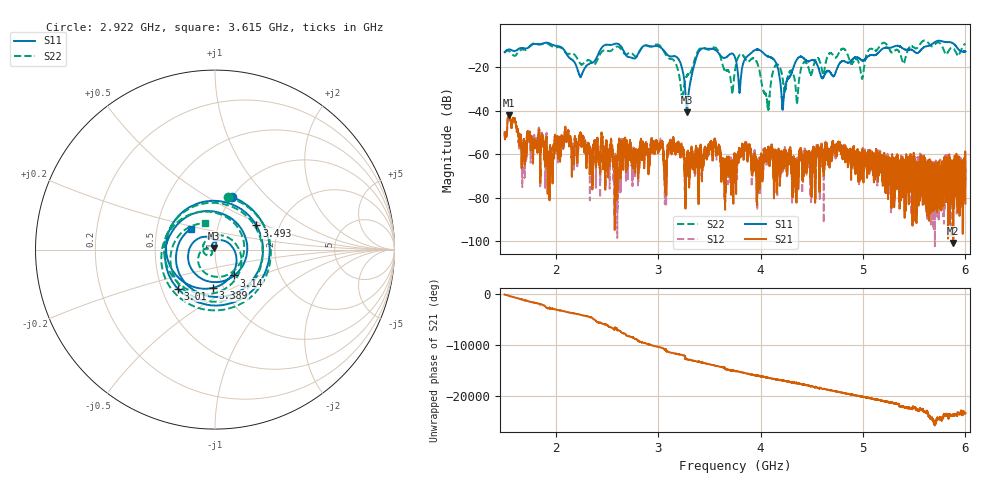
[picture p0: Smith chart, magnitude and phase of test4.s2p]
!Keysight Technologies N9923A: A.08.15
!Date: Monday, 19 February 2024 16:33:15
!Timezone: (GMT-05:00) Eastern Time (US & Canada)
!Model: N9923A
!Serial: MY52412730
!GPS Latitude:
!GPS Longitude:
!GPS TimeStamp: 0001-01-01 00:00:00Z
!GPS Seconds Since Last Read: 0
!CHECKSUM:1300869414
!Correction: S11(ON Q)S21(ON Q)S12(ON Q)S22(ON Q)
!S2P File: Measurements:S11,S21,S12,S22:
# Hz S DB R 50
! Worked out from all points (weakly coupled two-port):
!   10001 points, 1.5 GHz to 6 GHz, reference 50 ohm
!   highest |S21| = -42.08 dB at 1.545 GHz (marker M1); lowest = -100.8 dB at 5.882 GHz (marker M2)
!   lowest |S11| = -40.6 dB at 3.281 GHz (marker M3), VSWR 1.02, Z = 49.6 + j0.86 ohm
!   |S11| at or under -10 dB: start of sweep to 1.754 GHz; 1.991 GHz to 2.468 GHz (476.5 MHz wide, 21.4 % of centre); 2.901 GHz to 5.648 GHz (2.746 GHz wide, 64.3 % of centre) (the widest 3 of 5)
!   |S22| runs from -39.6 to -7.6 dB; largest |S21 - S12| = 0.0012
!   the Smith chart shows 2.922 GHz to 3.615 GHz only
!   S11 on the Smith chart (normalised r, x): 2.922 GHz: 1.00, +0.65; 3.01 GHz: 0.61, -0.29; 3.14 GHz: 1.18, -0.35; 3.389 GHz: 0.89, -0.40; 3.493 GHz: 1.52, +0.44; 3.615 GHz: 0.74, +0.18
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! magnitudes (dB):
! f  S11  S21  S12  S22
! 1.5 GHz  -13.0  -49.8  -50.2  -13.2
! 1.545 GHz  -11.7  -42.1  -42.8  -12.6
! 1.941 GHz  -9.0  -65.9  -71.6  -9.6
! 2.25 GHz  -23.7  -55.3  -54.6  -18.7
! 2.581 GHz  -9.1  -62.6  -62.7  -10.6
! 2.922 GHz  -10.2  -58.2  -57.3  -10.5
! 3 GHz  -10.3  -57.3  -55.7  -9.5
! 3.01 GHz  -10.5  -56.8  -57.5  -9.7
! 3.14 GHz  -14.9  -55.7  -54.8  -16.3
! 3.281 GHz  -40.6  -62.9  -61.4  -23.8
! 3.389 GHz  -13.4  -69.5  -63.4  -12.5
! 3.493 GHz  -11.5  -57.6  -56.9  -11.8
! 3.615 GHz  -14.9  -62.6  -64.6  -16.1
! 3.75 GHz  -15.3  -60.7  -63.8  -21.2
! 3.942 GHz  -12.1  -62.6  -60.7  -16.0
! 4.066 GHz  -14.9  -61.4  -61.7  -36.5
! 4.117 GHz  -15.8  -57.7  -57.7  -22.9
! 4.219 GHz  -37.8  -62.3  -65.4  -26.3
! 4.5 GHz  -16.6  -66.2  -66.6  -22.8
! 5.25 GHz  -11.0  -64.7  -61.4  -11.0
! 5.882 GHz  -9.0  -100.8  -80.7  -11.2
! 6 GHz  -12.6  -82.7  -67.0  -9.1
